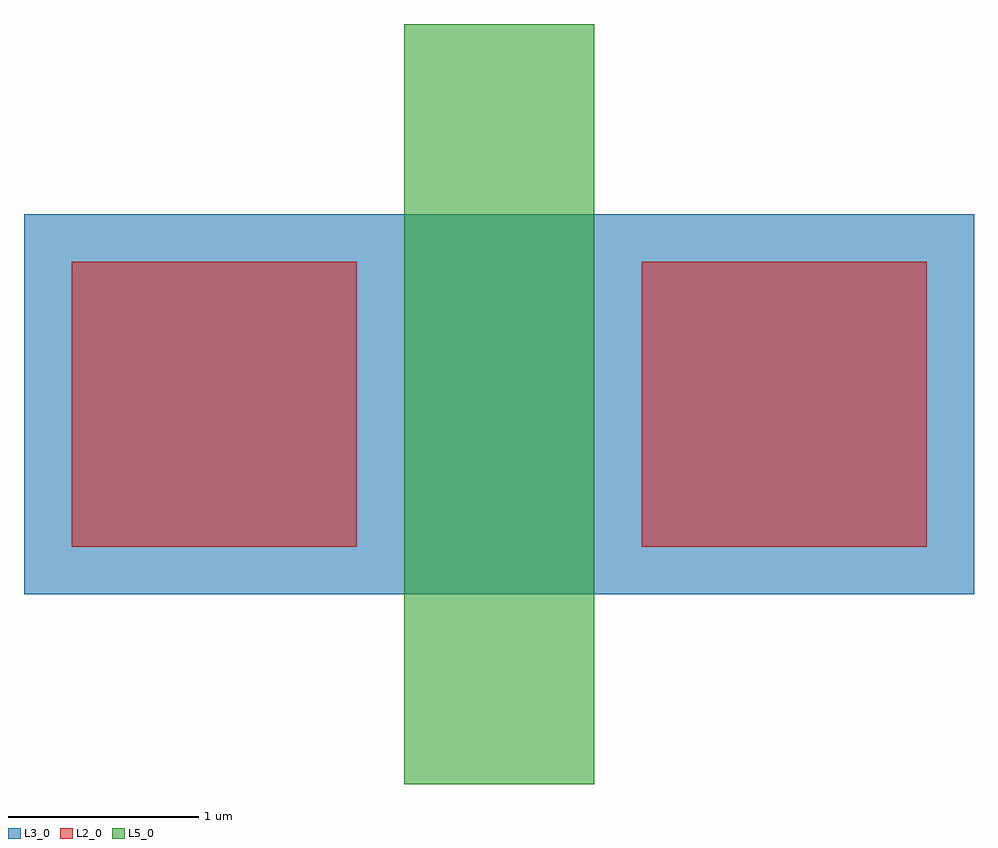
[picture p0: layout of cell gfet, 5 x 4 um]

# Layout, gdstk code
import gdstk
lib = gdstk.Library(unit=1e-6, precision=5e-10)
def R(c, l, rs):  # rectangles x0, y0, x1, y1
    for r in rs: c.add(gdstk.rectangle(r[:2], r[2:], *l))
L2_0 = (2, 0)
L3_0 = (3, 0)
L5_0 = (5, 0)

gfet = lib.new_cell('gfet')
R(gfet, L2_0, [(1.25,2.25,2.75,3.75), (4.25,2.25,5.75,3.75), (1.5,2.5,2.5,3.5), (4.5,2.5,5.5,3.5)])
R(gfet, L3_0, [(1,2,6,4)])
R(gfet, L5_0, [(3,1,4,5), (3,4.3,4,5)])

lib.write_gds('gfet.gds')
